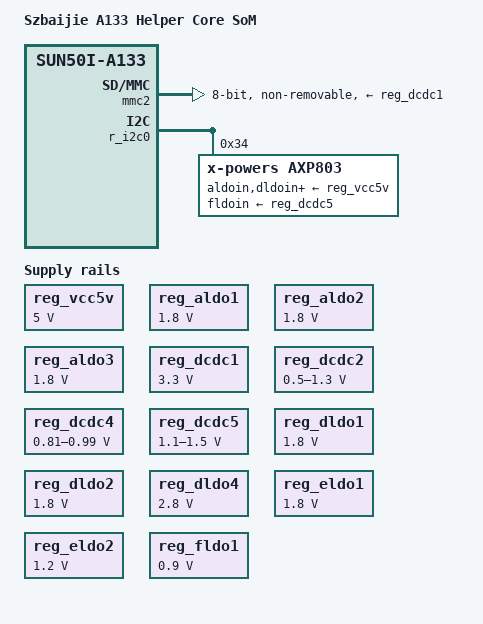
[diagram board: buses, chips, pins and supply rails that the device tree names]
// SPDX-License-Identifier: (GPL-2.0+ or MIT)
/*
 * Copyright (c) 2024 Linumiz
 * Author: Parthiban Nallathambi <parthiban@linumiz.com>
 */

#include "sun50i-a100.dtsi"
#include <dt-bindings/gpio/gpio.h>

/{
	model = "Szbaijie A133 Helper Core SoM";
	compatible = "szbaijie,helper-a133-core", "allwinner,sun50i-a133";

	aliases {
		mmc2 = &mmc2;
	};

	chosen {
		stdout-path = "serial0:115200n8";
	};

	reg_vcc5v: vcc5v {
		compatible = "regulator-fixed";
		regulator-name = "vcc-5v";
		regulator-min-microvolt = <5000000>;
		regulator-max-microvolt = <5000000>;
		regulator-always-on;
	};
};

&mmc2 {
	no-sdio;
	no-sd;
	cap-mmc-highspeed;
	bus-width = <8>;
	max-frequency = <100000000>;
	non-removable;
	cap-mmc-hw-reset;
	vmmc-supply = <&reg_dcdc1>;
	vqmmc-supply = <&reg_eldo1>;
	status = "okay";
};

&pio {
	status = "okay";
	vcc-pb-supply = <&reg_dcdc1>;
	vcc-pc-supply = <&reg_eldo1>;
	vcc-pd-supply = <&reg_dcdc1>;
	vcc-pe-supply = <&reg_dldo2>;
	vcc-pf-supply = <&reg_dcdc1>;
	vcc-pg-supply = <&reg_dldo1>;
	vcc-ph-supply = <&reg_dcdc1>;
};

&r_i2c0 {
	status = "okay";

	axp803: pmic@34 {
		compatible = "x-powers,axp803";
		reg = <0x34>;
		interrupt-parent = <&r_intc>;
		interrupts = <0 IRQ_TYPE_LEVEL_LOW>;
		x-powers,drive-vbus-en; /* set N_VBUSEN as output pin */

		aldoin-supply = <&reg_vcc5v>;
		dldoin-supply = <&reg_vcc5v>;
		eldoin-supply = <&reg_vcc5v>;
		fldoin-supply = <&reg_dcdc5>;
		vin1-supply = <&reg_vcc5v>;
		vin2-supply = <&reg_vcc5v>;
		vin3-supply = <&reg_vcc5v>;
		vin4-supply = <&reg_vcc5v>;
		vin5-supply = <&reg_vcc5v>;
		vin6-supply = <&reg_vcc5v>;
	};
};

#include "axp803.dtsi"

&ac_power_supply {
	status = "okay";
};

&battery_power_supply {
	status = "okay";
};

&reg_aldo1 {
	regulator-always-on;
	regulator-min-microvolt = <1800000>;
	regulator-max-microvolt = <1800000>;
	regulator-name = "vcc-pll-avcc";
};

&reg_aldo2 {
	regulator-always-on;
	regulator-min-microvolt = <1800000>;
	regulator-max-microvolt = <1800000>;
	regulator-name = "vcc-dram-lpddr";
};

&reg_aldo3 {
	regulator-always-on;
	regulator-min-microvolt = <1800000>;
	regulator-max-microvolt = <1800000>;
	regulator-name = "vcc-pl";
};

&reg_dcdc1 {
	regulator-always-on;
	regulator-min-microvolt = <3300000>;
	regulator-max-microvolt = <3300000>;
	regulator-name = "vcc-io-usb-pd-nand-3v3";
};

&reg_dcdc2 {
	regulator-always-on;
	regulator-min-microvolt = <500000>;
	regulator-max-microvolt = <1300000>;
	regulator-name = "vdd-cpux";
};

/* DCDC3 is polyphased with DCDC2 */

&reg_dcdc4 {
	regulator-always-on;
	regulator-min-microvolt = <810000>;
	regulator-max-microvolt = <990000>;
	regulator-name = "vcc-usb-sys";
};

&reg_dcdc5 {
	regulator-always-on;
	regulator-min-microvolt = <1100000>;
	regulator-max-microvolt = <1500000>;
	regulator-name = "vcc-dram-2";
};

&reg_dldo1 {
	regulator-min-microvolt = <1800000>;
	regulator-max-microvolt = <1800000>;
	regulator-name = "vcc-pg";
};

&reg_dldo2 {
	regulator-min-microvolt = <1800000>;
	regulator-max-microvolt = <1800000>;
	regulator-name = "vcc-csi-pe";
};

&reg_dldo4 {
	regulator-min-microvolt = <2800000>;
	regulator-max-microvolt = <2800000>;
	regulator-name = "ldo-avdd-csi";
};

&reg_drivevbus {
	regulator-name = "usb0-vbus";
	status = "okay";
};

&reg_eldo1 {
	regulator-min-microvolt = <1800000>;
	regulator-max-microvolt = <1800000>;
	regulator-name = "vcc-pc-efuse-lvds-cpvin-mcsi";
};

&reg_eldo2 {
	regulator-min-microvolt = <1200000>;
	regulator-max-microvolt = <1200000>;
	regulator-name = "dvdd-csi";
};

&reg_fldo1 {
	regulator-always-on;
	regulator-min-microvolt = <900000>;
	regulator-max-microvolt = <900000>;
	regulator-name = "vdd-cpus";
};

&r_pio {
	/*
	 * FIXME: We can't add that supply for now since it would
	 * create a circular dependency between pinctrl, the regulator
	 * and the I2C Bus.
	 *
	 * vcc-pl-supply = <&reg_aldo3>;
	 */
};
